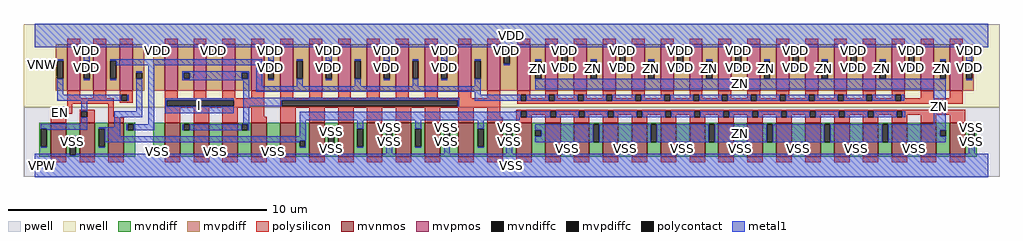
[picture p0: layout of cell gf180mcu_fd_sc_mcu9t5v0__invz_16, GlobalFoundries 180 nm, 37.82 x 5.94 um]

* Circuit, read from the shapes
.subckt gf180mcu_fd_sc_mcu9t5v0__invz_16 EN I ZN VDD VNW VPW VSS
XM1 VSS EN n1 VPW nfet_06v0 w=1.32u l=0.6u
XM2 n2 n1 VSS VPW nfet_06v0 w=1.32u l=0.6u
XM3 n3 EN n2 VPW nfet_06v0 w=1.32u l=0.6u
XM4 n4 I VSS VPW nfet_06v0 w=1.32u l=0.6u m=4
XM5 n2 n4 VSS VPW nfet_06v0 w=1.32u l=0.6u m=8
XM6 ZN n2 VSS VPW nfet_06v0 w=1.32u l=0.6u m=16
XM7 VDD EN n1 VNW pfet_06v0 w=1.8u l=0.5u
XM8 n3 EN VDD VNW pfet_06v0 w=1.8u l=0.5u
XM9 n2 n1 n3 VNW pfet_06v0 w=1.8u l=0.5u
XM10 n4 I VDD VNW pfet_06v0 w=1.8u l=0.5u m=4
XM11 n3 n4 VDD VNW pfet_06v0 w=1.8u l=0.5u m=8
XM12 ZN n3 VDD VNW pfet_06v0 w=1.8u l=0.5u m=16
.ends

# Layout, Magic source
magic
tech gf180mcuD
magscale 1 10
<< nwell >>
rect -86 453 7478 1094
<< pwell >>
rect -86 -86 7478 453
<< mvnmos >>
rect 124 68 244 332
rect 348 68 468 332
rect 572 68 692 332
rect 1008 69 1128 333
rect 1232 69 1352 333
rect 1456 69 1576 333
rect 1680 69 1800 333
rect 1904 69 2024 333
rect 2128 69 2248 333
rect 2352 69 2472 333
rect 2576 69 2696 333
rect 2800 69 2920 333
rect 3024 69 3144 333
rect 3284 68 3404 332
rect 3508 68 3628 332
rect 3732 68 3852 332
rect 3956 68 4076 332
rect 4180 68 4300 332
rect 4404 68 4524 332
rect 4628 68 4748 332
rect 4852 68 4972 332
rect 5076 68 5196 332
rect 5300 68 5420 332
rect 5524 68 5644 332
rect 5748 68 5868 332
rect 5972 68 6092 332
rect 6196 68 6316 332
rect 6420 68 6540 332
rect 6644 68 6764 332
rect 6868 68 6988 332
rect 7092 68 7212 332
<< mvpmos >>
rect 252 580 352 940
rect 456 580 556 940
rect 660 580 760 940
rect 1008 580 1108 940
rect 1232 580 1332 940
rect 1456 580 1556 940
rect 1680 580 1780 940
rect 1904 580 2004 940
rect 2128 580 2228 940
rect 2352 580 2452 940
rect 2576 580 2676 940
rect 2800 580 2900 940
rect 3024 580 3124 940
rect 3284 580 3384 940
rect 3508 580 3608 940
rect 3742 580 3842 940
rect 3956 580 4056 940
rect 4180 580 4280 940
rect 4404 580 4504 940
rect 4628 580 4728 940
rect 4852 580 4952 940
rect 5076 580 5176 940
rect 5300 580 5400 940
rect 5524 580 5624 940
rect 5748 580 5848 940
rect 5972 580 6072 940
rect 6196 580 6296 940
rect 6420 580 6520 940
rect 6644 580 6744 940
rect 6868 580 6968 940
rect 7092 580 7192 940
<< mvndiff >>
rect 36 287 124 332
rect 36 147 49 287
rect 95 147 124 287
rect 36 68 124 147
rect 244 221 348 332
rect 244 81 273 221
rect 319 81 348 221
rect 244 68 348 81
rect 468 287 572 332
rect 468 147 497 287
rect 543 147 572 287
rect 468 68 572 147
rect 692 319 780 332
rect 692 273 721 319
rect 767 273 780 319
rect 692 68 780 273
rect 920 128 1008 333
rect 920 82 933 128
rect 979 82 1008 128
rect 920 69 1008 82
rect 1128 320 1232 333
rect 1128 274 1157 320
rect 1203 274 1232 320
rect 1128 69 1232 274
rect 1352 128 1456 333
rect 1352 82 1381 128
rect 1427 82 1456 128
rect 1352 69 1456 82
rect 1576 320 1680 333
rect 1576 274 1605 320
rect 1651 274 1680 320
rect 1576 69 1680 274
rect 1800 128 1904 333
rect 1800 82 1829 128
rect 1875 82 1904 128
rect 1800 69 1904 82
rect 2024 193 2128 333
rect 2024 147 2053 193
rect 2099 147 2128 193
rect 2024 69 2128 147
rect 2248 280 2352 333
rect 2248 140 2277 280
rect 2323 140 2352 280
rect 2248 69 2352 140
rect 2472 287 2576 333
rect 2472 147 2501 287
rect 2547 147 2576 287
rect 2472 69 2576 147
rect 2696 287 2800 333
rect 2696 147 2725 287
rect 2771 147 2800 287
rect 2696 69 2800 147
rect 2920 287 3024 333
rect 2920 147 2949 287
rect 2995 147 3024 287
rect 2920 69 3024 147
rect 3144 332 3224 333
rect 3144 287 3284 332
rect 3144 147 3173 287
rect 3219 147 3284 287
rect 3144 69 3284 147
rect 3204 68 3284 69
rect 3404 287 3508 332
rect 3404 147 3433 287
rect 3479 147 3508 287
rect 3404 68 3508 147
rect 3628 287 3732 332
rect 3628 147 3657 287
rect 3703 147 3732 287
rect 3628 68 3732 147
rect 3852 273 3956 332
rect 3852 227 3881 273
rect 3927 227 3956 273
rect 3852 68 3956 227
rect 4076 133 4180 332
rect 4076 87 4105 133
rect 4151 87 4180 133
rect 4076 68 4180 87
rect 4300 319 4404 332
rect 4300 179 4329 319
rect 4375 179 4404 319
rect 4300 68 4404 179
rect 4524 133 4628 332
rect 4524 87 4553 133
rect 4599 87 4628 133
rect 4524 68 4628 87
rect 4748 319 4852 332
rect 4748 179 4777 319
rect 4823 179 4852 319
rect 4748 68 4852 179
rect 4972 133 5076 332
rect 4972 87 5001 133
rect 5047 87 5076 133
rect 4972 68 5076 87
rect 5196 319 5300 332
rect 5196 179 5225 319
rect 5271 179 5300 319
rect 5196 68 5300 179
rect 5420 133 5524 332
rect 5420 87 5449 133
rect 5495 87 5524 133
rect 5420 68 5524 87
rect 5644 319 5748 332
rect 5644 179 5673 319
rect 5719 179 5748 319
rect 5644 68 5748 179
rect 5868 133 5972 332
rect 5868 87 5897 133
rect 5943 87 5972 133
rect 5868 68 5972 87
rect 6092 319 6196 332
rect 6092 179 6121 319
rect 6167 179 6196 319
rect 6092 68 6196 179
rect 6316 133 6420 332
rect 6316 87 6345 133
rect 6391 87 6420 133
rect 6316 68 6420 87
rect 6540 319 6644 332
rect 6540 179 6569 319
rect 6615 179 6644 319
rect 6540 68 6644 179
rect 6764 133 6868 332
rect 6764 87 6793 133
rect 6839 87 6868 133
rect 6764 68 6868 87
rect 6988 272 7092 332
rect 6988 226 7017 272
rect 7063 226 7092 272
rect 6988 68 7092 226
rect 7212 287 7300 332
rect 7212 147 7241 287
rect 7287 147 7300 287
rect 7212 68 7300 147
<< mvpdiff >>
rect 164 813 252 940
rect 164 673 177 813
rect 223 673 252 813
rect 164 580 252 673
rect 352 813 456 940
rect 352 673 381 813
rect 427 673 456 813
rect 352 580 456 673
rect 556 813 660 940
rect 556 673 585 813
rect 631 673 660 813
rect 556 580 660 673
rect 760 719 848 940
rect 760 673 789 719
rect 835 673 848 719
rect 760 580 848 673
rect 920 927 1008 940
rect 920 881 933 927
rect 979 881 1008 927
rect 920 580 1008 881
rect 1108 719 1232 940
rect 1108 673 1157 719
rect 1203 673 1232 719
rect 1108 580 1232 673
rect 1332 927 1456 940
rect 1332 881 1361 927
rect 1407 881 1456 927
rect 1332 580 1456 881
rect 1556 719 1680 940
rect 1556 673 1605 719
rect 1651 673 1680 719
rect 1556 580 1680 673
rect 1780 813 1904 940
rect 1780 673 1809 813
rect 1855 673 1904 813
rect 1780 580 1904 673
rect 2004 813 2128 940
rect 2004 673 2033 813
rect 2079 673 2128 813
rect 2004 580 2128 673
rect 2228 813 2352 940
rect 2228 673 2257 813
rect 2303 673 2352 813
rect 2228 580 2352 673
rect 2452 813 2576 940
rect 2452 673 2481 813
rect 2527 673 2576 813
rect 2452 580 2576 673
rect 2676 813 2800 940
rect 2676 673 2705 813
rect 2751 673 2800 813
rect 2676 580 2800 673
rect 2900 813 3024 940
rect 2900 673 2929 813
rect 2975 673 3024 813
rect 2900 580 3024 673
rect 3124 813 3284 940
rect 3124 673 3153 813
rect 3199 673 3284 813
rect 3124 580 3284 673
rect 3384 813 3508 940
rect 3384 673 3413 813
rect 3459 673 3508 813
rect 3384 580 3508 673
rect 3608 927 3742 940
rect 3608 787 3637 927
rect 3683 787 3742 927
rect 3608 580 3742 787
rect 3842 813 3956 940
rect 3842 673 3881 813
rect 3927 673 3956 813
rect 3842 580 3956 673
rect 4056 900 4180 940
rect 4056 760 4085 900
rect 4131 760 4180 900
rect 4056 580 4180 760
rect 4280 813 4404 940
rect 4280 673 4309 813
rect 4355 673 4404 813
rect 4280 580 4404 673
rect 4504 900 4628 940
rect 4504 760 4533 900
rect 4579 760 4628 900
rect 4504 580 4628 760
rect 4728 813 4852 940
rect 4728 673 4757 813
rect 4803 673 4852 813
rect 4728 580 4852 673
rect 4952 900 5076 940
rect 4952 760 4981 900
rect 5027 760 5076 900
rect 4952 580 5076 760
rect 5176 813 5300 940
rect 5176 673 5205 813
rect 5251 673 5300 813
rect 5176 580 5300 673
rect 5400 900 5524 940
rect 5400 760 5429 900
rect 5475 760 5524 900
rect 5400 580 5524 760
rect 5624 813 5748 940
rect 5624 673 5653 813
rect 5699 673 5748 813
rect 5624 580 5748 673
rect 5848 900 5972 940
rect 5848 760 5877 900
rect 5923 760 5972 900
rect 5848 580 5972 760
rect 6072 813 6196 940
rect 6072 673 6101 813
rect 6147 673 6196 813
rect 6072 580 6196 673
rect 6296 900 6420 940
rect 6296 760 6325 900
rect 6371 760 6420 900
rect 6296 580 6420 760
rect 6520 813 6644 940
rect 6520 673 6549 813
rect 6595 673 6644 813
rect 6520 580 6644 673
rect 6744 900 6868 940
rect 6744 760 6773 900
rect 6819 760 6868 900
rect 6744 580 6868 760
rect 6968 813 7092 940
rect 6968 673 7017 813
rect 7063 673 7092 813
rect 6968 580 7092 673
rect 7192 813 7280 940
rect 7192 673 7221 813
rect 7267 673 7280 813
rect 7192 580 7280 673
<< mvndiffc >>
rect 49 147 95 287
rect 273 81 319 221
rect 497 147 543 287
rect 721 273 767 319
rect 933 82 979 128
rect 1157 274 1203 320
rect 1381 82 1427 128
rect 1605 274 1651 320
rect 1829 82 1875 128
rect 2053 147 2099 193
rect 2277 140 2323 280
rect 2501 147 2547 287
rect 2725 147 2771 287
rect 2949 147 2995 287
rect 3173 147 3219 287
rect 3433 147 3479 287
rect 3657 147 3703 287
rect 3881 227 3927 273
rect 4105 87 4151 133
rect 4329 179 4375 319
rect 4553 87 4599 133
rect 4777 179 4823 319
rect 5001 87 5047 133
rect 5225 179 5271 319
rect 5449 87 5495 133
rect 5673 179 5719 319
rect 5897 87 5943 133
rect 6121 179 6167 319
rect 6345 87 6391 133
rect 6569 179 6615 319
rect 6793 87 6839 133
rect 7017 226 7063 272
rect 7241 147 7287 287
<< mvpdiffc >>
rect 177 673 223 813
rect 381 673 427 813
rect 585 673 631 813
rect 789 673 835 719
rect 933 881 979 927
rect 1157 673 1203 719
rect 1361 881 1407 927
rect 1605 673 1651 719
rect 1809 673 1855 813
rect 2033 673 2079 813
rect 2257 673 2303 813
rect 2481 673 2527 813
rect 2705 673 2751 813
rect 2929 673 2975 813
rect 3153 673 3199 813
rect 3413 673 3459 813
rect 3637 787 3683 927
rect 3881 673 3927 813
rect 4085 760 4131 900
rect 4309 673 4355 813
rect 4533 760 4579 900
rect 4757 673 4803 813
rect 4981 760 5027 900
rect 5205 673 5251 813
rect 5429 760 5475 900
rect 5653 673 5699 813
rect 5877 760 5923 900
rect 6101 673 6147 813
rect 6325 760 6371 900
rect 6549 673 6595 813
rect 6773 760 6819 900
rect 7017 673 7063 813
rect 7221 673 7267 813
<< polysilicon >>
rect 252 940 352 984
rect 456 940 556 984
rect 660 940 760 984
rect 1008 940 1108 984
rect 1232 940 1332 984
rect 1456 940 1556 984
rect 1680 940 1780 984
rect 1904 940 2004 984
rect 2128 940 2228 984
rect 2352 940 2452 984
rect 2576 940 2676 984
rect 2800 940 2900 984
rect 3024 940 3124 984
rect 3284 940 3384 984
rect 3508 940 3608 984
rect 3742 940 3842 984
rect 3956 940 4056 984
rect 4180 940 4280 984
rect 4404 940 4504 984
rect 4628 940 4728 984
rect 4852 940 4952 984
rect 5076 940 5176 984
rect 5300 940 5400 984
rect 5524 940 5624 984
rect 5748 940 5848 984
rect 5972 940 6072 984
rect 6196 940 6296 984
rect 6420 940 6520 984
rect 6644 940 6744 984
rect 6868 940 6968 984
rect 7092 940 7192 984
rect 252 520 352 580
rect 456 520 556 580
rect 660 547 760 580
rect 252 480 612 520
rect 660 501 673 547
rect 719 501 760 547
rect 660 488 760 501
rect 1008 520 1108 580
rect 1232 520 1332 580
rect 1456 520 1556 580
rect 1680 520 1780 580
rect 1008 507 1780 520
rect 252 440 292 480
rect 124 427 292 440
rect 124 381 185 427
rect 231 400 292 427
rect 348 419 468 432
rect 231 381 244 400
rect 124 332 244 381
rect 348 373 361 419
rect 407 373 468 419
rect 348 332 468 373
rect 572 376 612 480
rect 1008 461 1026 507
rect 1542 461 1780 507
rect 1008 448 1780 461
rect 572 332 692 376
rect 1008 333 1128 448
rect 1232 447 1780 448
rect 1232 333 1352 447
rect 1456 377 1575 447
rect 1680 377 1780 447
rect 1904 520 2004 580
rect 2128 520 2228 580
rect 2352 520 2452 580
rect 2576 520 2676 580
rect 2800 520 2900 580
rect 3024 520 3124 580
rect 3284 520 3384 580
rect 3508 520 3608 580
rect 1904 507 3608 520
rect 1904 461 1917 507
rect 3279 461 3608 507
rect 3742 547 3842 580
rect 3742 501 3766 547
rect 3812 520 3842 547
rect 3956 547 4056 580
rect 3956 520 3984 547
rect 3812 501 3984 520
rect 4030 520 4056 547
rect 4180 547 4280 580
rect 4180 520 4209 547
rect 4030 501 4209 520
rect 4255 520 4280 547
rect 4404 547 4504 580
rect 4404 520 4431 547
rect 4255 501 4431 520
rect 4477 520 4504 547
rect 4628 547 4728 580
rect 4628 520 4656 547
rect 4477 501 4656 520
rect 4702 520 4728 547
rect 4852 547 4952 580
rect 4852 520 4881 547
rect 4702 501 4881 520
rect 4927 520 4952 547
rect 5076 547 5176 580
rect 5076 520 5105 547
rect 4927 501 5105 520
rect 5151 520 5176 547
rect 5300 547 5400 580
rect 5300 520 5325 547
rect 5151 501 5325 520
rect 5371 520 5400 547
rect 5524 547 5624 580
rect 5524 520 5549 547
rect 5371 501 5549 520
rect 5595 520 5624 547
rect 5748 547 5848 580
rect 5748 520 5776 547
rect 5595 501 5776 520
rect 5822 520 5848 547
rect 5972 547 6072 580
rect 5972 520 5999 547
rect 5822 501 5999 520
rect 6045 520 6072 547
rect 6196 547 6296 580
rect 6196 520 6223 547
rect 6045 501 6223 520
rect 6269 520 6296 547
rect 6420 547 6520 580
rect 6420 520 6447 547
rect 6269 501 6447 520
rect 6493 520 6520 547
rect 6644 547 6744 580
rect 6644 520 6670 547
rect 6493 501 6670 520
rect 6716 520 6744 547
rect 6868 520 6968 580
rect 7092 520 7192 580
rect 6716 501 7192 520
rect 3742 480 7192 501
rect 1904 448 3608 461
rect 1456 333 1576 377
rect 1680 333 1800 377
rect 1904 333 2024 448
rect 2128 333 2248 448
rect 2352 333 2472 448
rect 2576 333 2696 448
rect 2800 333 2920 448
rect 3024 333 3144 448
rect 3284 332 3404 448
rect 3508 376 3608 448
rect 3732 419 7212 432
rect 3508 332 3628 376
rect 3732 373 3768 419
rect 3814 392 3996 419
rect 3814 373 3852 392
rect 3732 332 3852 373
rect 3956 373 3996 392
rect 4042 392 4219 419
rect 4042 373 4076 392
rect 3956 332 4076 373
rect 4180 373 4219 392
rect 4265 392 4442 419
rect 4265 373 4300 392
rect 4180 332 4300 373
rect 4404 373 4442 392
rect 4488 392 4665 419
rect 4488 373 4524 392
rect 4404 332 4524 373
rect 4628 373 4665 392
rect 4711 392 4888 419
rect 4711 373 4748 392
rect 4628 332 4748 373
rect 4852 373 4888 392
rect 4934 392 5112 419
rect 4934 373 4972 392
rect 4852 332 4972 373
rect 5076 373 5112 392
rect 5158 392 5337 419
rect 5158 373 5196 392
rect 5076 332 5196 373
rect 5300 373 5337 392
rect 5383 392 5561 419
rect 5383 373 5420 392
rect 5300 332 5420 373
rect 5524 373 5561 392
rect 5607 392 5785 419
rect 5607 373 5644 392
rect 5524 332 5644 373
rect 5748 373 5785 392
rect 5831 392 6007 419
rect 5831 373 5868 392
rect 5748 332 5868 373
rect 5972 373 6007 392
rect 6053 392 6234 419
rect 6053 373 6092 392
rect 5972 332 6092 373
rect 6196 373 6234 392
rect 6280 392 6457 419
rect 6280 373 6316 392
rect 6196 332 6316 373
rect 6420 373 6457 392
rect 6503 392 6680 419
rect 6503 373 6540 392
rect 6420 332 6540 373
rect 6644 373 6680 392
rect 6726 392 7212 419
rect 6726 373 6764 392
rect 6644 332 6764 373
rect 6868 332 6988 392
rect 7092 332 7212 392
rect 124 24 244 68
rect 348 24 468 68
rect 572 24 692 68
rect 1008 25 1128 69
rect 1232 25 1352 69
rect 1456 25 1576 69
rect 1680 25 1800 69
rect 1904 25 2024 69
rect 2128 25 2248 69
rect 2352 25 2472 69
rect 2576 25 2696 69
rect 2800 25 2920 69
rect 3024 25 3144 69
rect 3284 24 3404 68
rect 3508 24 3628 68
rect 3732 24 3852 68
rect 3956 24 4076 68
rect 4180 24 4300 68
rect 4404 24 4524 68
rect 4628 24 4748 68
rect 4852 24 4972 68
rect 5076 24 5196 68
rect 5300 24 5420 68
rect 5524 24 5644 68
rect 5748 24 5868 68
rect 5972 24 6092 68
rect 6196 24 6316 68
rect 6420 24 6540 68
rect 6644 24 6764 68
rect 6868 24 6988 68
rect 7092 24 7212 68
<< polycontact >>
rect 673 501 719 547
rect 185 381 231 427
rect 361 373 407 419
rect 1026 461 1542 507
rect 1917 461 3279 507
rect 3766 501 3812 547
rect 3984 501 4030 547
rect 4209 501 4255 547
rect 4431 501 4477 547
rect 4656 501 4702 547
rect 4881 501 4927 547
rect 5105 501 5151 547
rect 5325 501 5371 547
rect 5549 501 5595 547
rect 5776 501 5822 547
rect 5999 501 6045 547
rect 6223 501 6269 547
rect 6447 501 6493 547
rect 6670 501 6716 547
rect 3768 373 3814 419
rect 3996 373 4042 419
rect 4219 373 4265 419
rect 4442 373 4488 419
rect 4665 373 4711 419
rect 4888 373 4934 419
rect 5112 373 5158 419
rect 5337 373 5383 419
rect 5561 373 5607 419
rect 5785 373 5831 419
rect 6007 373 6053 419
rect 6234 373 6280 419
rect 6457 373 6503 419
rect 6680 373 6726 419
<< metal1 >>
rect 0 927 7392 1098
rect 0 918 933 927
rect 177 813 223 824
rect 177 547 223 673
rect 381 813 427 918
rect 979 918 1361 927
rect 933 870 979 881
rect 1407 918 3637 927
rect 1361 870 1407 881
rect 381 662 427 673
rect 585 813 1763 824
rect 631 778 1763 813
rect 585 662 631 673
rect 789 719 835 730
rect 177 501 673 547
rect 719 501 730 547
rect 163 427 231 455
rect 163 381 185 427
rect 163 370 231 381
rect 361 419 407 501
rect 789 419 835 673
rect 361 324 407 373
rect 49 287 407 324
rect 618 373 835 419
rect 618 298 664 373
rect 881 319 927 778
rect 1146 719 1662 730
rect 1146 673 1157 719
rect 1203 673 1605 719
rect 1651 673 1662 719
rect 1146 662 1662 673
rect 1616 524 1662 662
rect 1717 616 1763 778
rect 1809 813 1855 918
rect 1809 662 1855 673
rect 2033 813 2079 824
rect 2033 616 2079 673
rect 2257 813 2303 918
rect 2257 662 2303 673
rect 2481 813 2527 824
rect 2481 616 2527 673
rect 2705 813 2751 918
rect 2705 662 2751 673
rect 2929 813 2975 824
rect 2929 616 2975 673
rect 3153 813 3199 918
rect 3153 662 3199 673
rect 3413 813 3459 824
rect 3683 918 7392 927
rect 4085 900 4131 918
rect 3637 776 3683 787
rect 3881 813 3927 824
rect 3413 616 3459 673
rect 1717 570 3459 616
rect 4533 900 4579 918
rect 4085 749 4131 760
rect 4309 813 4355 824
rect 4981 900 5027 918
rect 4533 749 4579 760
rect 4757 813 4803 824
rect 5429 900 5475 918
rect 4981 749 5027 760
rect 5205 813 5251 824
rect 5877 900 5923 918
rect 5429 749 5475 760
rect 5653 813 5699 824
rect 6325 900 6371 918
rect 5877 749 5923 760
rect 6101 813 6147 824
rect 6773 900 6819 918
rect 6325 749 6371 760
rect 6549 813 6595 824
rect 6773 749 6819 760
rect 7017 813 7063 824
rect 3881 593 7063 673
rect 7221 813 7267 918
rect 7221 662 7267 673
rect 3413 547 3459 570
rect 1013 507 1542 521
rect 1013 461 1026 507
rect 1013 406 1542 461
rect 1616 507 3290 524
rect 1616 461 1917 507
rect 3279 461 3290 507
rect 3413 501 3766 547
rect 3812 501 3984 547
rect 4030 501 4209 547
rect 4255 501 4431 547
rect 4477 501 4656 547
rect 4702 501 4881 547
rect 4927 501 5105 547
rect 5151 501 5325 547
rect 5371 501 5549 547
rect 5595 501 5776 547
rect 5822 501 5999 547
rect 6045 501 6223 547
rect 6269 501 6447 547
rect 6493 501 6670 547
rect 6716 501 6740 547
rect 1616 320 1662 461
rect 3722 415 3768 419
rect 95 278 407 287
rect 497 287 664 298
rect 49 136 95 147
rect 273 221 319 232
rect 0 81 273 90
rect 543 227 664 287
rect 710 273 721 319
rect 767 273 927 319
rect 1146 274 1157 320
rect 1203 274 1605 320
rect 1651 274 1662 320
rect 2054 373 3768 415
rect 3814 373 3996 419
rect 4042 373 4219 419
rect 4265 373 4442 419
rect 4488 373 4665 419
rect 4711 373 4888 419
rect 4934 373 5112 419
rect 5158 373 5337 419
rect 5383 373 5561 419
rect 5607 373 5785 419
rect 5831 373 6007 419
rect 6053 373 6234 419
rect 6280 373 6457 419
rect 6503 373 6680 419
rect 6726 373 6746 419
rect 2054 350 3760 373
rect 2054 227 2100 350
rect 543 193 2100 227
rect 543 181 2053 193
rect 497 136 543 147
rect 2099 147 2100 193
rect 2053 136 2100 147
rect 2277 280 2323 291
rect 922 90 933 128
rect 319 82 933 90
rect 979 90 990 128
rect 1370 90 1381 128
rect 979 82 1381 90
rect 1427 90 1438 128
rect 1818 90 1829 128
rect 1427 82 1829 90
rect 1875 90 1886 128
rect 2277 90 2323 140
rect 2501 287 2547 350
rect 2501 136 2547 147
rect 2725 287 2771 298
rect 2725 90 2771 147
rect 2949 287 2995 350
rect 2949 136 2995 147
rect 3173 287 3219 298
rect 3173 90 3219 147
rect 3433 287 3479 350
rect 6967 319 7063 593
rect 3433 136 3479 147
rect 3657 287 3703 298
rect 3881 273 4329 319
rect 3927 227 4329 273
rect 3881 179 4329 227
rect 4375 179 4777 319
rect 4823 179 5225 319
rect 5271 179 5673 319
rect 5719 179 6121 319
rect 6167 179 6569 319
rect 6615 272 7063 319
rect 6615 226 7017 272
rect 6615 179 7063 226
rect 7241 287 7287 298
rect 3657 90 3703 147
rect 4094 90 4105 133
rect 1875 87 4105 90
rect 4151 90 4162 133
rect 4542 90 4553 133
rect 4151 87 4553 90
rect 4599 90 4610 133
rect 4990 90 5001 133
rect 4599 87 5001 90
rect 5047 90 5058 133
rect 5438 90 5449 133
rect 5047 87 5449 90
rect 5495 90 5506 133
rect 5886 90 5897 133
rect 5495 87 5897 90
rect 5943 90 5954 133
rect 6334 90 6345 133
rect 5943 87 6345 90
rect 6391 90 6402 133
rect 6782 90 6793 133
rect 6391 87 6793 90
rect 6839 90 6850 133
rect 7241 90 7287 147
rect 6839 87 7392 90
rect 1875 82 7392 87
rect 319 81 7392 82
rect 0 -90 7392 81
<< labels >>
flabel metal1 s 163 370 231 455 0 FreeSans 200 0 0 0 EN
port 1 nsew default input
flabel metal1 s 1013 406 1542 521 0 FreeSans 200 0 0 0 I
port 2 nsew default input
flabel metal1 s 0 918 7392 1098 0 FreeSans 200 0 0 0 VDD
port 4 nsew power bidirectional abutment
flabel metal1 s 7241 291 7287 298 0 FreeSans 200 0 0 0 VSS
port 7 nsew ground bidirectional abutment
flabel metal1 s 7017 673 7063 824 0 FreeSans 200 0 0 0 ZN
port 3 nsew default output
flabel nwell s 10 734 110 834 0 FreeSans 400 0 0 0 VNW
port 5 nsew power bidirectional
flabel pwell s 10 -50 110 50 0 FreeSans 400 0 0 0 VPW
port 6 nsew ground bidirectional
rlabel metal1 s 6549 673 6595 824 1 ZN
port 3 nsew default output
rlabel metal1 s 6101 673 6147 824 1 ZN
port 3 nsew default output
rlabel metal1 s 5653 673 5699 824 1 ZN
port 3 nsew default output
rlabel metal1 s 5205 673 5251 824 1 ZN
port 3 nsew default output
rlabel metal1 s 4757 673 4803 824 1 ZN
port 3 nsew default output
rlabel metal1 s 4309 673 4355 824 1 ZN
port 3 nsew default output
rlabel metal1 s 3881 673 3927 824 1 ZN
port 3 nsew default output
rlabel metal1 s 3881 593 7063 673 1 ZN
port 3 nsew default output
rlabel metal1 s 6967 319 7063 593 1 ZN
port 3 nsew default output
rlabel metal1 s 3881 179 7063 319 1 ZN
port 3 nsew default output
rlabel metal1 s 7221 870 7267 918 1 VDD
port 4 nsew power bidirectional abutment
rlabel metal1 s 6773 870 6819 918 1 VDD
port 4 nsew power bidirectional abutment
rlabel metal1 s 6325 870 6371 918 1 VDD
port 4 nsew power bidirectional abutment
rlabel metal1 s 5877 870 5923 918 1 VDD
port 4 nsew power bidirectional abutment
rlabel metal1 s 5429 870 5475 918 1 VDD
port 4 nsew power bidirectional abutment
rlabel metal1 s 4981 870 5027 918 1 VDD
port 4 nsew power bidirectional abutment
rlabel metal1 s 4533 870 4579 918 1 VDD
port 4 nsew power bidirectional abutment
rlabel metal1 s 4085 870 4131 918 1 VDD
port 4 nsew power bidirectional abutment
rlabel metal1 s 3637 870 3683 918 1 VDD
port 4 nsew power bidirectional abutment
rlabel metal1 s 3153 870 3199 918 1 VDD
port 4 nsew power bidirectional abutment
rlabel metal1 s 2705 870 2751 918 1 VDD
port 4 nsew power bidirectional abutment
rlabel metal1 s 2257 870 2303 918 1 VDD
port 4 nsew power bidirectional abutment
rlabel metal1 s 1809 870 1855 918 1 VDD
port 4 nsew power bidirectional abutment
rlabel metal1 s 1361 870 1407 918 1 VDD
port 4 nsew power bidirectional abutment
rlabel metal1 s 933 870 979 918 1 VDD
port 4 nsew power bidirectional abutment
rlabel metal1 s 381 870 427 918 1 VDD
port 4 nsew power bidirectional abutment
rlabel metal1 s 7221 776 7267 870 1 VDD
port 4 nsew power bidirectional abutment
rlabel metal1 s 6773 776 6819 870 1 VDD
port 4 nsew power bidirectional abutment
rlabel metal1 s 6325 776 6371 870 1 VDD
port 4 nsew power bidirectional abutment
rlabel metal1 s 5877 776 5923 870 1 VDD
port 4 nsew power bidirectional abutment
rlabel metal1 s 5429 776 5475 870 1 VDD
port 4 nsew power bidirectional abutment
rlabel metal1 s 4981 776 5027 870 1 VDD
port 4 nsew power bidirectional abutment
rlabel metal1 s 4533 776 4579 870 1 VDD
port 4 nsew power bidirectional abutment
rlabel metal1 s 4085 776 4131 870 1 VDD
port 4 nsew power bidirectional abutment
rlabel metal1 s 3637 776 3683 870 1 VDD
port 4 nsew power bidirectional abutment
rlabel metal1 s 3153 776 3199 870 1 VDD
port 4 nsew power bidirectional abutment
rlabel metal1 s 2705 776 2751 870 1 VDD
port 4 nsew power bidirectional abutment
rlabel metal1 s 2257 776 2303 870 1 VDD
port 4 nsew power bidirectional abutment
rlabel metal1 s 1809 776 1855 870 1 VDD
port 4 nsew power bidirectional abutment
rlabel metal1 s 381 776 427 870 1 VDD
port 4 nsew power bidirectional abutment
rlabel metal1 s 7221 749 7267 776 1 VDD
port 4 nsew power bidirectional abutment
rlabel metal1 s 6773 749 6819 776 1 VDD
port 4 nsew power bidirectional abutment
rlabel metal1 s 6325 749 6371 776 1 VDD
port 4 nsew power bidirectional abutment
rlabel metal1 s 5877 749 5923 776 1 VDD
port 4 nsew power bidirectional abutment
rlabel metal1 s 5429 749 5475 776 1 VDD
port 4 nsew power bidirectional abutment
rlabel metal1 s 4981 749 5027 776 1 VDD
port 4 nsew power bidirectional abutment
rlabel metal1 s 4533 749 4579 776 1 VDD
port 4 nsew power bidirectional abutment
rlabel metal1 s 4085 749 4131 776 1 VDD
port 4 nsew power bidirectional abutment
rlabel metal1 s 3153 749 3199 776 1 VDD
port 4 nsew power bidirectional abutment
rlabel metal1 s 2705 749 2751 776 1 VDD
port 4 nsew power bidirectional abutment
rlabel metal1 s 2257 749 2303 776 1 VDD
port 4 nsew power bidirectional abutment
rlabel metal1 s 1809 749 1855 776 1 VDD
port 4 nsew power bidirectional abutment
rlabel metal1 s 381 749 427 776 1 VDD
port 4 nsew power bidirectional abutment
rlabel metal1 s 7221 662 7267 749 1 VDD
port 4 nsew power bidirectional abutment
rlabel metal1 s 3153 662 3199 749 1 VDD
port 4 nsew power bidirectional abutment
rlabel metal1 s 2705 662 2751 749 1 VDD
port 4 nsew power bidirectional abutment
rlabel metal1 s 2257 662 2303 749 1 VDD
port 4 nsew power bidirectional abutment
rlabel metal1 s 1809 662 1855 749 1 VDD
port 4 nsew power bidirectional abutment
rlabel metal1 s 381 662 427 749 1 VDD
port 4 nsew power bidirectional abutment
rlabel metal1 s 3657 291 3703 298 1 VSS
port 7 nsew ground bidirectional abutment
rlabel metal1 s 3173 291 3219 298 1 VSS
port 7 nsew ground bidirectional abutment
rlabel metal1 s 2725 291 2771 298 1 VSS
port 7 nsew ground bidirectional abutment
rlabel metal1 s 7241 232 7287 291 1 VSS
port 7 nsew ground bidirectional abutment
rlabel metal1 s 3657 232 3703 291 1 VSS
port 7 nsew ground bidirectional abutment
rlabel metal1 s 3173 232 3219 291 1 VSS
port 7 nsew ground bidirectional abutment
rlabel metal1 s 2725 232 2771 291 1 VSS
port 7 nsew ground bidirectional abutment
rlabel metal1 s 2277 232 2323 291 1 VSS
port 7 nsew ground bidirectional abutment
rlabel metal1 s 7241 133 7287 232 1 VSS
port 7 nsew ground bidirectional abutment
rlabel metal1 s 3657 133 3703 232 1 VSS
port 7 nsew ground bidirectional abutment
rlabel metal1 s 3173 133 3219 232 1 VSS
port 7 nsew ground bidirectional abutment
rlabel metal1 s 2725 133 2771 232 1 VSS
port 7 nsew ground bidirectional abutment
rlabel metal1 s 2277 133 2323 232 1 VSS
port 7 nsew ground bidirectional abutment
rlabel metal1 s 273 133 319 232 1 VSS
port 7 nsew ground bidirectional abutment
rlabel metal1 s 7241 128 7287 133 1 VSS
port 7 nsew ground bidirectional abutment
rlabel metal1 s 6782 128 6850 133 1 VSS
port 7 nsew ground bidirectional abutment
rlabel metal1 s 6334 128 6402 133 1 VSS
port 7 nsew ground bidirectional abutment
rlabel metal1 s 5886 128 5954 133 1 VSS
port 7 nsew ground bidirectional abutment
rlabel metal1 s 5438 128 5506 133 1 VSS
port 7 nsew ground bidirectional abutment
rlabel metal1 s 4990 128 5058 133 1 VSS
port 7 nsew ground bidirectional abutment
rlabel metal1 s 4542 128 4610 133 1 VSS
port 7 nsew ground bidirectional abutment
rlabel metal1 s 4094 128 4162 133 1 VSS
port 7 nsew ground bidirectional abutment
rlabel metal1 s 3657 128 3703 133 1 VSS
port 7 nsew ground bidirectional abutment
rlabel metal1 s 3173 128 3219 133 1 VSS
port 7 nsew ground bidirectional abutment
rlabel metal1 s 2725 128 2771 133 1 VSS
port 7 nsew ground bidirectional abutment
rlabel metal1 s 2277 128 2323 133 1 VSS
port 7 nsew ground bidirectional abutment
rlabel metal1 s 273 128 319 133 1 VSS
port 7 nsew ground bidirectional abutment
rlabel metal1 s 7241 90 7287 128 1 VSS
port 7 nsew ground bidirectional abutment
rlabel metal1 s 6782 90 6850 128 1 VSS
port 7 nsew ground bidirectional abutment
rlabel metal1 s 6334 90 6402 128 1 VSS
port 7 nsew ground bidirectional abutment
rlabel metal1 s 5886 90 5954 128 1 VSS
port 7 nsew ground bidirectional abutment
rlabel metal1 s 5438 90 5506 128 1 VSS
port 7 nsew ground bidirectional abutment
rlabel metal1 s 4990 90 5058 128 1 VSS
port 7 nsew ground bidirectional abutment
rlabel metal1 s 4542 90 4610 128 1 VSS
port 7 nsew ground bidirectional abutment
rlabel metal1 s 4094 90 4162 128 1 VSS
port 7 nsew ground bidirectional abutment
rlabel metal1 s 3657 90 3703 128 1 VSS
port 7 nsew ground bidirectional abutment
rlabel metal1 s 3173 90 3219 128 1 VSS
port 7 nsew ground bidirectional abutment
rlabel metal1 s 2725 90 2771 128 1 VSS
port 7 nsew ground bidirectional abutment
rlabel metal1 s 2277 90 2323 128 1 VSS
port 7 nsew ground bidirectional abutment
rlabel metal1 s 1818 90 1886 128 1 VSS
port 7 nsew ground bidirectional abutment
rlabel metal1 s 1370 90 1438 128 1 VSS
port 7 nsew ground bidirectional abutment
rlabel metal1 s 922 90 990 128 1 VSS
port 7 nsew ground bidirectional abutment
rlabel metal1 s 273 90 319 128 1 VSS
port 7 nsew ground bidirectional abutment
rlabel metal1 s 0 -90 7392 90 1 VSS
port 7 nsew ground bidirectional abutment
<< properties >>
string FIXED_BBOX 0 0 7392 1008
string GDS_END 982694
string GDS_FILE $PDKPATH/libs.ref/gf180mcu_fd_sc_mcu9t5v0/gds/gf180mcu_fd_sc_mcu9t5v0.gds
string GDS_START 966034
string LEFclass core
string LEFsite GF018hv5v_green_sc9
string LEFsymmetry X Y
<< end >>
